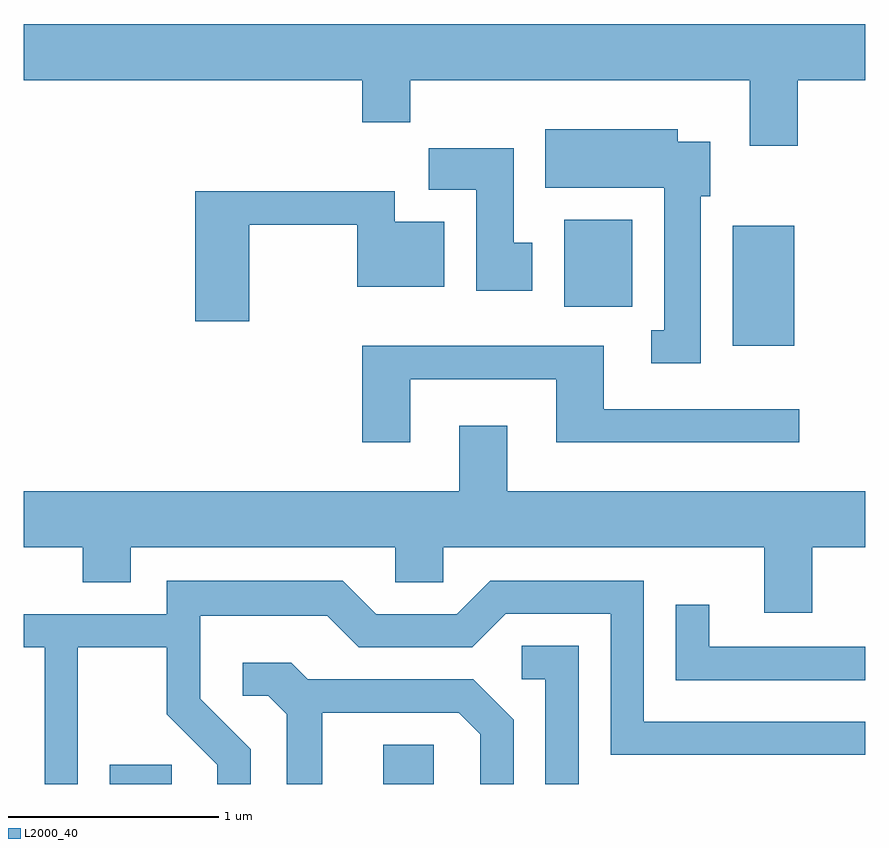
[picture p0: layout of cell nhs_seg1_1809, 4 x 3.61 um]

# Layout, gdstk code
import gdstk
lib = gdstk.Library(unit=1e-6, precision=1e-09)
def R(c, l, rs):  # rectangles x0, y0, x1, y1
    for r in rs: c.add(gdstk.rectangle(r[:2], r[2:], *l))
def P(c, l, *ps):  # polygons
    for p in ps: c.add(gdstk.Polygon(p, *l))
L2000_40 = (2000, 40)

nhs_seg1_1809 = lib.new_cell('nhs_seg1_1809')
R(nhs_seg1_1809, L2000_40, [(240.021,971.712,240.314,971.804), (241.321,971.712,241.559,971.899), (242.981,973.796,243.274,974.364), (242.181,973.981,242.504,974.394)])
P(nhs_seg1_1809, L2000_40, [(243.289,975.056),(243.611,975.056),(243.611,975.324),(239.611,975.324),(239.611,975.056),(241.221,975.056),(241.221,974.856),(241.449,974.856),(241.449,975.056),(243.061,975.056),(243.061,974.746),(243.289,974.746)],
  [(242.829,974.506),(242.874,974.506),(242.874,974.764),(242.719,974.764),(242.719,974.824),(242.091,974.824),(242.091,974.546),(242.656,974.546),(242.656,973.869),(242.593,973.869),(242.593,973.711),(242.829,973.711)],
  [(242.029,974.284),(241.939,974.284),(241.939,974.734),(241.536,974.734),(241.536,974.536),(241.761,974.536),(241.761,974.056),(242.029,974.056)],
  [(240.684,974.371),(241.196,974.371),(241.196,974.076),(241.609,974.076),(241.609,974.384),(241.374,974.384),(241.374,974.529),(240.426,974.529),(240.426,973.911),(240.684,973.911)],
  [(241.449,973.636),(242.141,973.636),(242.141,973.336),(243.298,973.336),(243.298,973.494),(242.369,973.494),(242.369,973.794),(241.221,973.794),(241.221,973.336),(241.449,973.336)],
  [(243.359,972.836),(243.611,972.836),(243.611,973.104),(241.909,973.104),(241.909,973.414),(241.681,973.414),(241.681,973.104),(239.611,973.104),(239.611,972.836),(239.891,972.836),(239.891,972.671),(240.119,972.671),(240.119,972.836),(241.376,972.836),(241.376,972.671),(241.604,972.671),(241.604,972.836),(243.131,972.836),(243.131,972.526),(243.359,972.526)],
  [(239.869,972.361),(240.291,972.361),(240.291,972.044),(240.531,971.804),(240.531,971.712),(240.689,971.712),(240.689,971.877),(240.449,972.117),(240.449,972.511),(241.054,972.511),(241.204,972.361),(241.742,972.361),(241.902,972.521),(242.401,972.521),(242.401,971.851),(243.611,971.851),(243.611,972.009),(242.559,972.009),(242.559,972.679),(241.829,972.679),(241.669,972.519),(241.287,972.519),(241.127,972.679),(240.291,972.679),(240.291,972.519),(239.611,972.519),(239.611,972.361),(239.711,972.361),(239.711,971.712),(239.869,971.712)],
  [(243.611,972.364),(242.869,972.364),(242.869,972.563),(242.711,972.563),(242.711,972.206),(243.611,972.206)],
  [(242.249,972.369),(241.978,972.369),(241.978,972.211),(242.091,972.211),(242.091,971.712),(242.249,971.712)],
  [(241.029,972.051),(241.679,972.051),(241.781,971.949),(241.781,971.712),(241.939,971.712),(241.939,972.017),(241.747,972.209),(240.962,972.209),(240.882,972.289),(240.653,972.289),(240.653,972.131),(240.774,972.131),(240.861,972.044),(240.861,971.712),(241.029,971.712)])

lib.write_gds('nhs_seg1_1809.gds')
